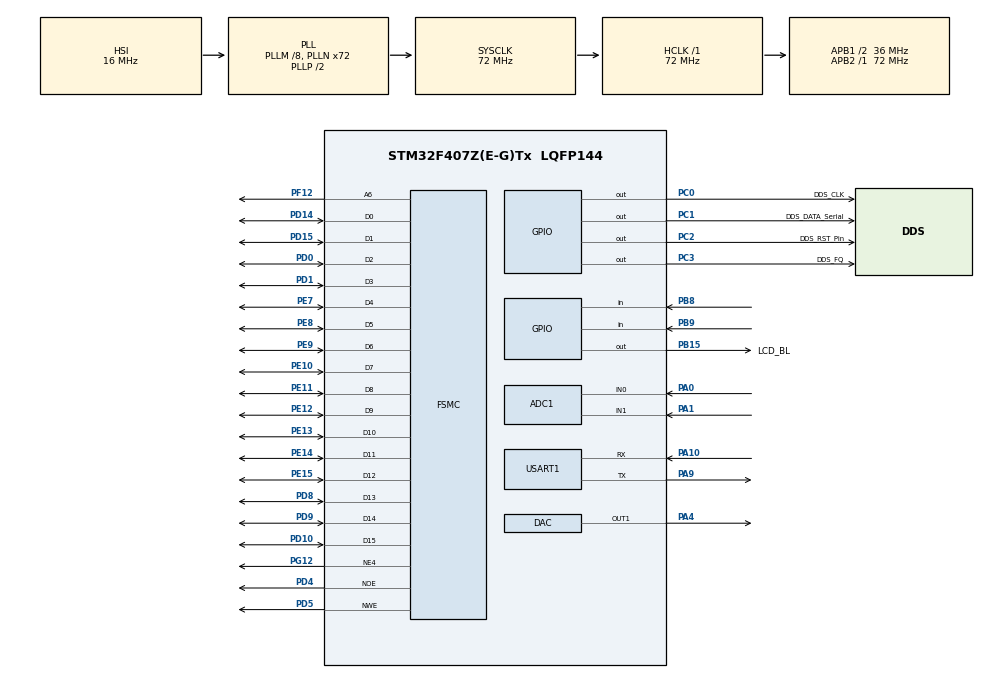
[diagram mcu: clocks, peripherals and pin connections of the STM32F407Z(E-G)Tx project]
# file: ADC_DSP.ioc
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ADC1.Channel-0\#ChannelRegularConversion=ADC_CHANNEL_0
ADC1.Channel-1\#ChannelRegularConversion=ADC_CHANNEL_0
ADC1.ContinuousConvMode=ENABLE
ADC1.DMAContinuousRequests=ENABLE
ADC1.NbrOfConversion=2
ADC1.NbrOfConversionFlag=1
ADC1.Rank-0\#ChannelRegularConversion=1
ADC1.Rank-1\#ChannelRegularConversion=2
ADC1.SamplingTime-0\#ChannelRegularConversion=ADC_SAMPLETIME_3CYCLES
ADC1.SamplingTime-1\#ChannelRegularConversion=ADC_SAMPLETIME_3CYCLES
ADC1.ScanConvMode=ENABLE
ADC1.master=1
Dma.ADC1.0.Direction=DMA_PERIPH_TO_MEMORY
Dma.ADC1.0.FIFOMode=DMA_FIFOMODE_DISABLE
Dma.ADC1.0.Instance=DMA2_Stream0
Dma.ADC1.0.MemDataAlignment=DMA_MDATAALIGN_WORD
Dma.ADC1.0.MemInc=DMA_MINC_ENABLE
Dma.ADC1.0.Mode=DMA_CIRCULAR
Dma.ADC1.0.PeriphDataAlignment=DMA_PDATAALIGN_WORD
Dma.ADC1.0.PeriphInc=DMA_PINC_DISABLE
Dma.ADC1.0.Priority=DMA_PRIORITY_LOW
Dma.Request0=ADC1
FSMC.BusTurnAroundDuration1=0
FSMC.DataSetupTime1=60
FSMC.ExtendedAddressSetupTime1=9
FSMC.ExtendedBusTurnAroundDuration1=0
FSMC.ExtendedDataSetupTime1=8
FSMC.ExtendedMode1=FSMC_EXTENDED_MODE_ENABLE
Mcu.Family=STM32F4
Mcu.Name=STM32F407Z(E-G)Tx
Mcu.Package=LQFP144
NVIC.DMA2_Stream0_IRQn=true\:0\:0\:false\:false\:true\:false\:true\:true
NVIC.PriorityGroup=NVIC_PRIORITYGROUP_4
PA0-WKUP.Signal=ADCx_IN0
PA1.Signal=ADCx_IN1
PA10.Mode=Asynchronous
PA10.Signal=USART1_RX
PA4.Signal=COMP_DAC1_group
PA9.Mode=Asynchronous
PA9.Signal=USART1_TX
PB15.GPIO_Label=LCD_BL
PB15.GPIO_PuPd=GPIO_PULLUP
PB15.GPIO_Speed=GPIO_SPEED_FREQ_HIGH
PB15.Signal=GPIO_Output
PB8.GPIO_PuPd=GPIO_PULLUP
PB8.Signal=GPIO_Input
PB9.GPIO_PuPd=GPIO_PULLUP
PB9.Signal=GPIO_Input
PC0.GPIO_Label=DDS_CLK
PC0.GPIO_Speed=GPIO_SPEED_FREQ_HIGH
PC0.Signal=GPIO_Output
PC1.GPIO_Label=DDS_DATA_Serial
PC1.GPIO_Speed=GPIO_SPEED_FREQ_HIGH
PC1.Signal=GPIO_Output
PC14-OSC32_IN.Mode=LSE-External-Oscillator
PC14-OSC32_IN.Signal=RCC_OSC32_IN
PC15-OSC32_OUT.Mode=LSE-External-Oscillator
PC15-OSC32_OUT.Signal=RCC_OSC32_OUT
PC2.GPIO_Label=DDS_RST_Pin
PC2.GPIO_Speed=GPIO_SPEED_FREQ_HIGH
PC2.Signal=GPIO_Output
PC3.GPIO_Label=DDS_FQ
PC3.GPIO_Speed=GPIO_SPEED_FREQ_HIGH
PC3.Signal=GPIO_Output
PD0.Signal=FSMC_D2_DA2
PD1.Signal=FSMC_D3_DA3
PD10.Signal=FSMC_D15_DA15
PD14.Signal=FSMC_D0_DA0
PD15.Signal=FSMC_D1_DA1
PD4.Signal=FSMC_NOE
PD5.Signal=FSMC_NWE
PD8.Signal=FSMC_D13_DA13
PD9.Signal=FSMC_D14_DA14
PE10.Signal=FSMC_D7_DA7
PE11.Signal=FSMC_D8_DA8
PE12.Signal=FSMC_D9_DA9
PE13.Signal=FSMC_D10_DA10
PE14.Signal=FSMC_D11_DA11
PE15.Signal=FSMC_D12_DA12
PE7.Signal=FSMC_D4_DA4
PE8.Signal=FSMC_D5_DA5
PE9.Signal=FSMC_D6_DA6
PF12.Signal=FSMC_A6
PG12.Mode=NorPsramChipSelect4_1
PG12.Signal=FSMC_NE4
PH0-OSC_IN.Mode=HSE-External-Oscillator
PH0-OSC_IN.Signal=RCC_OSC_IN
PH1-OSC_OUT.Mode=HSE-External-Oscillator
PH1-OSC_OUT.Signal=RCC_OSC_OUT
ProjectManager.HeapSize=0x200
ProjectManager.StackSize=0x400
ProjectManager.TargetToolchain=MDK-ARM V5.32
RCC.48MHZClocksFreq_Value=36000000
RCC.AHBFreq_Value=72000000
RCC.APB1CLKDivider=RCC_HCLK_DIV2
RCC.APB1Freq_Value=36000000
RCC.APB1TimFreq_Value=72000000
RCC.APB2Freq_Value=72000000
RCC.APB2TimFreq_Value=72000000
RCC.CortexFreq_Value=72000000
RCC.HCLKFreq_Value=72000000
RCC.HSE_VALUE=25000000
RCC.HSI_VALUE=16000000
RCC.PLLM=8
RCC.PLLN=72
RCC.SYSCLKFreq_VALUE=72000000
RCC.SYSCLKSource=RCC_SYSCLKSOURCE_PLLCLK
RCC.VCOOutputFreq_Value=144000000
SH.ADCx_IN0.0=ADC1_IN0,IN0
SH.ADCx_IN1.0=ADC1_IN1,IN1
SH.COMP_DAC1_group.0=DAC_OUT1,DAC_OUT1
SH.FSMC_A6.0=FSMC_A6,A6_1
SH.FSMC_D0_DA0.0=FSMC_D0,16b-d1
SH.FSMC_D10_DA10.0=FSMC_D10,16b-d1
SH.FSMC_D11_DA11.0=FSMC_D11,16b-d1
SH.FSMC_D12_DA12.0=FSMC_D12,16b-d1
SH.FSMC_D13_DA13.0=FSMC_D13,16b-d1
SH.FSMC_D14_DA14.0=FSMC_D14,16b-d1
SH.FSMC_D15_DA15.0=FSMC_D15,16b-d1
SH.FSMC_D1_DA1.0=FSMC_D1,16b-d1
SH.FSMC_D2_DA2.0=FSMC_D2,16b-d1
SH.FSMC_D3_DA3.0=FSMC_D3,16b-d1
SH.FSMC_D4_DA4.0=FSMC_D4,16b-d1
SH.FSMC_D5_DA5.0=FSMC_D5,16b-d1
SH.FSMC_D6_DA6.0=FSMC_D6,16b-d1
SH.FSMC_D7_DA7.0=FSMC_D7,16b-d1
SH.FSMC_D8_DA8.0=FSMC_D8,16b-d1
SH.FSMC_D9_DA9.0=FSMC_D9,16b-d1
SH.FSMC_NOE.0=FSMC_NOE,Lcd1
SH.FSMC_NWE.0=FSMC_NWE,Lcd1
TIM2.Period=65535
TIM2.Prescaler=72 - 1
USART1.VirtualMode=VM_ASYNC
VP_TIM2_VS_ClockSourceINT.Mode=Internal
board=custom

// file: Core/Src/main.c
/* USER CODE BEGIN Header */
/**
  ******************************************************************************
  * @file           : main.c
  * @brief          : Main program body
  ******************************************************************************
  * @attention
  *
  * Copyright (c) 2024 STMicroelectronics.
  * All rights reserved.
  *
  * This software is licensed under terms that can be found in the LICENSE file
  * in the root directory of this software component.
  * If no LICENSE file comes with this software, it is provided AS-IS.
  *
  ******************************************************************************
  */
/* USER CODE END Header */
#include "main.h"
#include "adc.h"
#include "dac.h"
#include "dma.h"
#include "tim.h"
#include "usart.h"
#include "gpio.h"
#include "fsmc.h"

/* USER CODE BEGIN Includes */
#include "ILI93xx.h"
#include "AD985x.h"
#include <stdio.h>
#include "arm_math.h"
/* USER CODE END Includes */

/* USER CODE BEGIN PV */

float voltage[320];
int i;
void show_voltage(){
	int pre_x = 0;
	int pre_y = 0;
	int lcd_x;
	int lcd_y;
	LCD_Clear(WHITE);
    LCD_ShowString(45, 5, 16, 16, 16, "1V");
    LCD_ShowString(115, 5, 16, 16, 16, "2V");
    LCD_ShowString(165, 5, 16, 16, 16, "3V");
    LCD_ShowString(225, 5, 16, 16, 16, "4V");
	for(i = 319; i > -1; i--){
		lcd_x = voltage[i] * 60;
		lcd_y = 320 - i;
	    LCD_DrawLine(pre_x, pre_y, lcd_x, lcd_y);
		pre_x = lcd_x;
		pre_y = lcd_y;
	}
}

void input_voltage(float v){
	for(i = 0; i < 319; i++){
		voltage[i] = voltage[i+1];
	}
	voltage[319] = v;

}

uint8_t key_scan(void)
{
  uint8_t key = 0;

   if(HAL_GPIO_ReadPin(GPIOB,GPIO_PIN_8) == GPIO_PIN_RESET)
  {
    key = 1;
  }
  if(HAL_GPIO_ReadPin(GPIOB,GPIO_PIN_9) == GPIO_PIN_RESET)
  {
    key = 2;
  }
  return key;
}

int fputc(int ch,FILE *f)
{
    uint8_t temp[1]={ch};
    HAL_UART_Transmit(&huart1, temp, 1, 2);
	return ch;
}
/* USER CODE END PV */

void SystemClock_Config(void);

/* USER CODE BEGIN 0 */
uint32_t ADC_Value[100];
float ad1,ad2;
/* USER CODE END 0 */

int main(void)
{

  /* MCU Configuration--------------------------------------------------------*/

  /* Reset of all peripherals, Initializes the Flash interface and the Systick. */
  HAL_Init();

  /* Configure the system clock */
  SystemClock_Config();

  /* Initialize all configured peripherals */
  MX_GPIO_Init();
  MX_DMA_Init();
  MX_ADC1_Init();
  MX_USART1_UART_Init();
  MX_FSMC_Init();
  MX_DAC_Init();
  MX_TIM2_Init();
  /* USER CODE BEGIN 2 */
	HAL_DAC_Start(&hdac, DAC_CHANNEL_2);
	HAL_DAC_SetValue(&hdac, DAC_CHANNEL_2, DAC_ALIGN_12B_R, 2048);

  TFTLCD_Init();
	AD985x_Init(AD9851, SERIAL); // 初始化控制AD9851需要用到的IO口,设置为串行通讯
  /* USER CODE END 2 */

  /* Infinite loop */
  /* USER CODE BEGIN WHILE */
	AD985x_SetFre_Phase (20000, 8); // 设置输出频率1000Hz,相位90度
	HAL_ADC_Start_DMA(&hadc1, (uint32_t*)&ADC_Value, 100);
  while (1)
  {
		for(i = 0,ad1 =0,ad2=0; i < 100;){
      ad1 += ADC_Value[i++];
      ad2 += ADC_Value[i++];
    }
    ad1 = (ad1/50)*3.3f/4096;
    ad2 = (ad2/50)*3.3f/4096;
	  printf("%.3f \r\n", ad1);

	  input_voltage(ad1);
	  show_voltage();
    /* USER CODE END WHILE */

    /* USER CODE BEGIN 3 */
		HAL_Delay(5);
  }
  /* USER CODE END 3 */
}

void SystemClock_Config(void)
{
  RCC_OscInitTypeDef RCC_OscInitStruct = {0};
  RCC_ClkInitTypeDef RCC_ClkInitStruct = {0};

  /** Configure the main internal regulator output voltage
  */
  __HAL_RCC_PWR_CLK_ENABLE();
  __HAL_PWR_VOLTAGESCALING_CONFIG(PWR_REGULATOR_VOLTAGE_SCALE1);

  /** Initializes the RCC Oscillators according to the specified parameters
  * in the RCC_OscInitTypeDef structure.
  */
  RCC_OscInitStruct.OscillatorType = RCC_OSCILLATORTYPE_HSI;
  RCC_OscInitStruct.HSIState = RCC_HSI_ON;
  RCC_OscInitStruct.HSICalibrationValue = RCC_HSICALIBRATION_DEFAULT;
  RCC_OscInitStruct.PLL.PLLState = RCC_PLL_ON;
  RCC_OscInitStruct.PLL.PLLSource = RCC_PLLSOURCE_HSI;
  RCC_OscInitStruct.PLL.PLLM = 8;
  RCC_OscInitStruct.PLL.PLLN = 72;
  RCC_OscInitStruct.PLL.PLLP = RCC_PLLP_DIV2;
  RCC_OscInitStruct.PLL.PLLQ = 4;
  if (HAL_RCC_OscConfig(&RCC_OscInitStruct) != HAL_OK)
  {
    Error_Handler();
  }

  /** Initializes the CPU, AHB and APB buses clocks
  */
  RCC_ClkInitStruct.ClockType = RCC_CLOCKTYPE_HCLK|RCC_CLOCKTYPE_SYSCLK
                              |RCC_CLOCKTYPE_PCLK1|RCC_CLOCKTYPE_PCLK2;
  RCC_ClkInitStruct.SYSCLKSource = RCC_SYSCLKSOURCE_PLLCLK;
  RCC_ClkInitStruct.AHBCLKDivider = RCC_SYSCLK_DIV1;
  RCC_ClkInitStruct.APB1CLKDivider = RCC_HCLK_DIV2;
  RCC_ClkInitStruct.APB2CLKDivider = RCC_HCLK_DIV1;

  if (HAL_RCC_ClockConfig(&RCC_ClkInitStruct, FLASH_LATENCY_2) != HAL_OK)
  {
    Error_Handler();
  }
}

void Error_Handler(void)
{
  __disable_irq();
  while (1)
  {
  }
}
